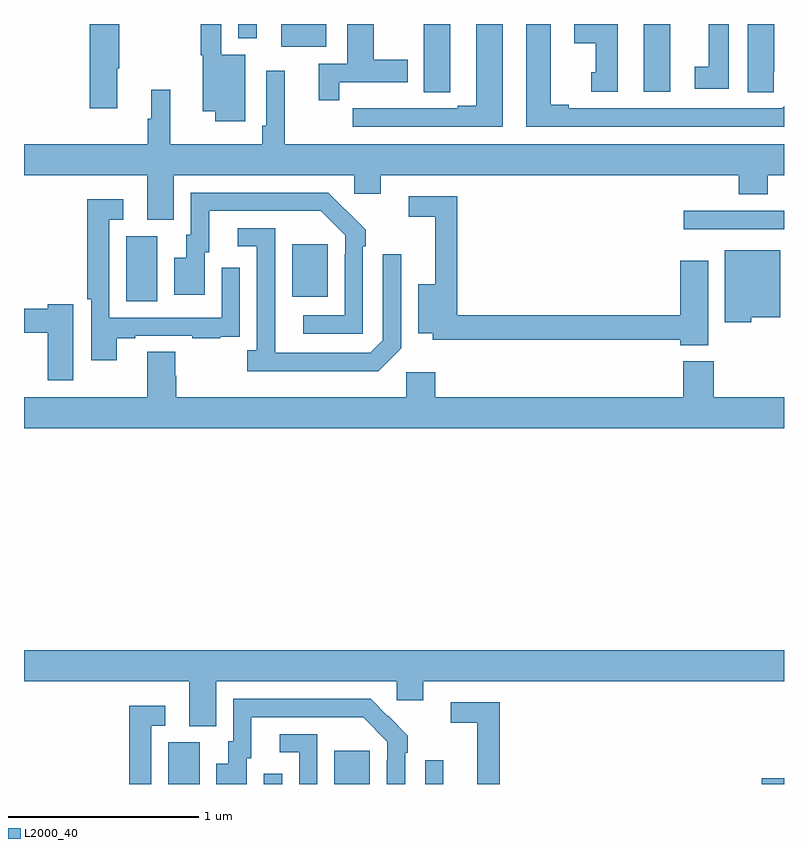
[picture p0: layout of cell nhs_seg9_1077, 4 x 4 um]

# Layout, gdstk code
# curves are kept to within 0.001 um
import gdstk
lib = gdstk.Library(unit=1e-6, precision=1e-09)
def R(c, l, rs):  # rectangles x0, y0, x1, y1
    for r in rs: c.add(gdstk.rectangle(r[:2], r[2:], *l))
def P(c, l, *ps):  # polygons
    for p in ps: c.add(gdstk.Polygon(p, *l))
L2000_40 = (2000, 40)

nhs_seg9_1077 = lib.new_cell('nhs_seg9_1077')
R(nhs_seg9_1077, L2000_40, [(169.76,1242.5,169.924,1242.72), (170.262,1242.5,170.358,1242.553), (170.633,1242.5,170.821,1242.676), (171.111,1242.5,171.207,1242.625), (172.884,1242.5,173,1242.53), (169.538,1245.04,169.702,1245.384), (170.411,1245.065,170.599,1245.34), (172.473,1245.42,173,1245.516), (172.262,1246.143,172.402,1246.5), (170.354,1246.379,170.59,1246.5), (170.127,1246.424,170.224,1246.5)])
P(nhs_seg9_1077, L2000_40, [(170.66,1246.194),(171.019,1246.194),(171.019,1246.311),(170.842,1246.311),(170.842,1246.5),(170.702,1246.5),(170.702,1246.29),(170.552,1246.29),(170.552,1246.098),(170.66,1246.098)],
  [(169.492,1246.268),(169.5,1246.268),(169.5,1246.5),(169.346,1246.5),(169.346,1246.056),(169.492,1246.056)],
  [(171.52,1246.5),(171.38,1246.5),(171.38,1246.071),(171.284,1246.071),(171.284,1246.056),(171.008,1246.056),(171.008,1246.057),(170.842,1246.057),(170.842,1246.056),(170.73,1246.056),(170.73,1245.96),(171.52,1245.96)],
  [(172.126,1246.5),(171.896,1246.5),(171.896,1246.4),(172.01,1246.4),(172.01,1246.245),(171.986,1246.245),(171.986,1246.143),(172.126,1246.143)],
  [(170.164,1246.339),(170.037,1246.339),(170.037,1246.5),(169.929,1246.5),(169.929,1246.335),(169.94,1246.335),(169.94,1246.04),(170.006,1246.04),(170.006,1245.987),(170.164,1245.987)],
  [(173,1246.067),(172.989,1246.056),(171.868,1246.056),(171.868,1246.076),(171.772,1246.076),(171.772,1246.5),(171.644,1246.5),(171.644,1245.96),(173,1245.96)],
  [(172.947,1246.249),(172.948,1246.249),(172.948,1246.5),(172.808,1246.5),(172.808,1246.141),(172.947,1246.141)],
  [(171.243,1246.249),(171.244,1246.249),(171.244,1246.5),(171.104,1246.5),(171.104,1246.141),(171.243,1246.141)],
  [(172.708,1246.5),(172.604,1246.5),(172.604,1246.274),(172.53,1246.274),(172.53,1246.158),(172.708,1246.158)],
  [(169.789,1245.704),(170.739,1245.704),(170.739,1245.606),(170.878,1245.606),(170.878,1245.704),(172.763,1245.704),(172.763,1245.605),(172.915,1245.605),(172.915,1245.704),(173,1245.704),(173,1245.868),(170.372,1245.868),(170.372,1246.255),(170.274,1246.255),(170.274,1245.964),(170.254,1245.964),(170.254,1245.868),(169.77,1245.868),(169.77,1246.153),(169.67,1246.153),(169.67,1246.002),(169.651,1246.002),(169.651,1245.868),(169,1245.868),(169,1245.704),(169.649,1245.704),(169.649,1245.469),(169.789,1245.469)],
  [(170.784,1245.329),(170.799,1245.329),(170.799,1245.417),(170.602,1245.612),(169.878,1245.612),(169.878,1245.39),(169.853,1245.39),(169.853,1245.271),(169.79,1245.271),(169.79,1245.075),(169.951,1245.075),(169.951,1245.3),(169.975,1245.3),(169.975,1245.516),(170.563,1245.516),(170.691,1245.387),(170.691,1245.287),(170.688,1245.287),(170.688,1244.967),(170.469,1244.967),(170.469,1244.871),(170.784,1244.871)],
  [(172.6,1245.253),(172.454,1245.253),(172.454,1244.966),(171.281,1244.966),(171.281,1245.594),(171.024,1245.594),(171.024,1245.486),(171.164,1245.486),(171.164,1245.13),(171.074,1245.13),(171.074,1244.873),(171.15,1244.873),(171.15,1244.838),(172.454,1244.838),(172.454,1244.81),(172.6,1244.81)],
  [(169.489,1244.847),(169.585,1244.847),(169.585,1244.859),(169.885,1244.859),(169.885,1244.847),(170.033,1244.847),(170.033,1244.853),(170.135,1244.853),(170.135,1244.962),(170.136,1244.962),(170.136,1245.217),(170.04,1245.217),(170.04,1244.955),(169.449,1244.955),(169.449,1245.471),(169.522,1245.471),(169.522,1245.577),(169.333,1245.577),(169.333,1245.153),(169.334,1245.153),(169.334,1245.052),(169.353,1245.052),(169.353,1244.73),(169.489,1244.73)],
  [(170.985,1244.793),(170.985,1245.289),(170.889,1245.289),(170.889,1244.835),(170.823,1244.769),(170.323,1244.769),(170.322,1245.426),(170.124,1245.426),(170.124,1245.33),(170.226,1245.33),(170.226,1244.782),(170.175,1244.782),(170.175,1244.672),(170.864,1244.672)],
  [(172.827,1244.957),(172.981,1244.957),(172.981,1245.31),(172.688,1245.31),(172.688,1244.93),(172.827,1244.93)],
  [(169.258,1245.025),(169.124,1245.025),(169.124,1245.002),(169,1245.002),(169,1244.874),(169.124,1244.874),(169.124,1244.625),(169.258,1244.625)],
  [(171.012,1244.668),(171.012,1244.536),(169.802,1244.536),(169.802,1244.649),(169.797,1244.649),(169.797,1244.774),(169.649,1244.774),(169.649,1244.536),(169,1244.536),(169,1244.372),(173,1244.372),(173,1244.536),(172.629,1244.536),(172.629,1244.725),(172.469,1244.725),(172.469,1244.536),(171.164,1244.536),(171.164,1244.668)],
  [(170.011,1243.04),(170.961,1243.04),(170.961,1242.942),(171.1,1242.942),(171.1,1243.04),(173,1243.04),(173,1243.204),(169,1243.204),(169,1243.04),(169.871,1243.04),(169.871,1242.805),(170.011,1242.805)],
  [(170.173,1242.636),(170.197,1242.636),(170.197,1242.852),(170.785,1242.852),(170.913,1242.723),(170.913,1242.623),(170.91,1242.623),(170.91,1242.5),(171.006,1242.5),(171.006,1242.665),(171.021,1242.665),(171.021,1242.753),(170.824,1242.948),(170.1,1242.948),(170.1,1242.726),(170.075,1242.726),(170.075,1242.607),(170.012,1242.607),(170.012,1242.5),(170.173,1242.5)],
  [(171.503,1242.93),(171.246,1242.93),(171.246,1242.822),(171.386,1242.822),(171.386,1242.5),(171.503,1242.5)],
  [(169.671,1242.807),(169.744,1242.807),(169.744,1242.913),(169.555,1242.913),(169.555,1242.5),(169.671,1242.5)],
  [(170.544,1242.762),(170.346,1242.762),(170.346,1242.666),(170.448,1242.666),(170.448,1242.5),(170.544,1242.5)])

lib.write_gds('nhs_seg9_1077.gds')
